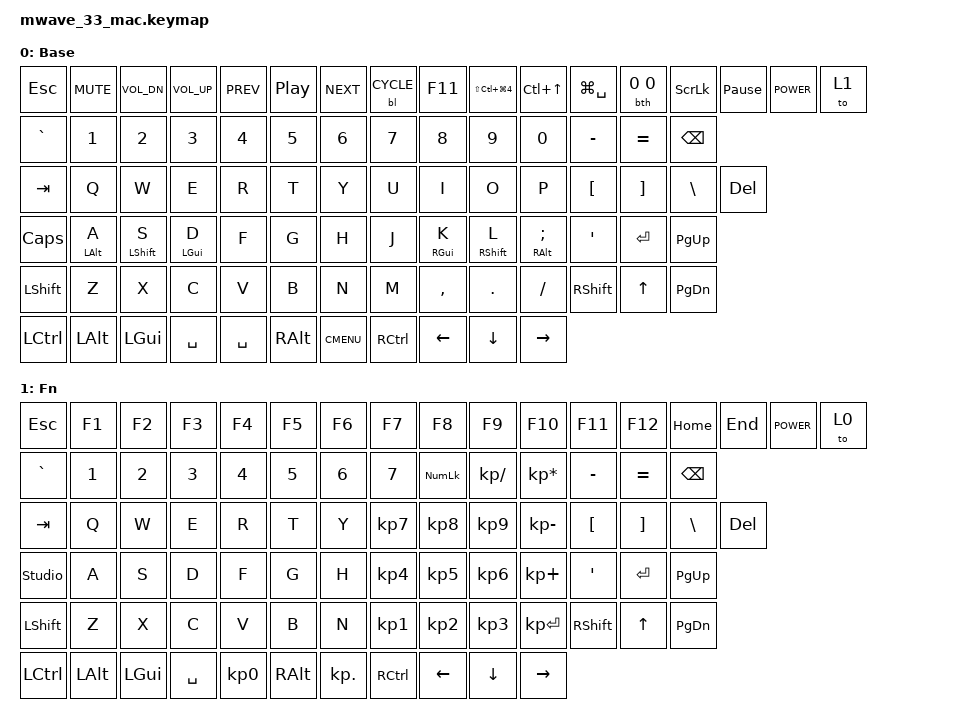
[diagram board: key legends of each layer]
#include <behaviors.dtsi>
#include <dt-bindings/zmk/backlight.h>
#include <dt-bindings/zmk/bt.h>
#include <dt-bindings/zmk/keys.h>
#include <dt-bindings/zmk/pointing.h>
#include <dt-bindings/zmk/outputs.h>
#include <dt-bindings/advertising_mode.h>
#include <behaviors/advertising_mode.dtsi>
#include <behaviors/stp_indicators.dtsi>
#include "studio-macros.dtsi"

&mt {
    flavor = "balanced";
    quick-tap-ms = <150>;
    hold-while-undecided;
};

&lt { flavor = "balanced"; };

/ {
    #include "mwave_prim.dtsi"

    behaviors {
        // Timeless homerow mods (https://github.com/urob/zmk-config#timeless-homerow-mods)
        // Key positions for mwave_33_mac 87-key layout: left 0-6,18-24,33-38,48-53,62-67,76-80 | right 7-17,25-32,39-47,54-61,68-75,81-86
        hml: hml {
            compatible = "zmk,behavior-hold-tap";
            #binding-cells = <2>;
            tapping-term-ms = <280>;
            bindings = <&kp>, <&kp>;
            flavor = "balanced";
            quick-tap-ms = <175>;
            require-prior-idle-ms = <400>;
            hold-trigger-key-positions = <7 8 9 10 11 12 13 14 15 16 17 25 26 27 28 29 30 31 32 39 40 41 42 43 44 45 46 47 54 55 56 57 58 59 60 61 68 69 70 71 72 73 74 75 81 82 83 84 85 86>;
            hold-trigger-on-release;
            hold-while-undecided;
        };
        hmr: hmr {
            compatible = "zmk,behavior-hold-tap";
            #binding-cells = <2>;
            tapping-term-ms = <280>;
            bindings = <&kp>, <&kp>;
            flavor = "balanced";
            quick-tap-ms = <175>;
            require-prior-idle-ms = <400>;
            hold-trigger-key-positions = <0 1 2 3 4 5 6 18 19 20 21 22 23 24 33 34 35 36 37 38 48 49 50 51 52 53 62 63 64 65 66 67 76 77 78 79 80>;
            hold-trigger-on-release;
            hold-while-undecided;
        };
    };

    combos {
        compatible = "zmk,combos";
        combo_caps_word {
            key-positions = <77 78>;
            bindings = <&caps_word>;
        };
    };

    keymap {
        compatible = "zmk,keymap";

        default_layer {
            display-name = "Base";

            // -------------------------------------------------------------------------------------------------------
            // | ESC | F1  | F2  | F3  | F4  | F5  | F6  | | F7  | F8  | F9  | F10 | F11 | F12 |HOME| END |PSCN|  1  |
            // |GRAVE|  1  |  2  |  3  |  4  |  5  |  6  | |   7   |  8  |  9  |  0  |  -  |  =  |    BKSP     | DEL |
            // | TAB    |  Q  |  W  |  E  |  R  |   T    | |   Y  |  U  |  I  |  O  |  P  |  [  |  ]  |   \    |     |
            // | CAPS     |  A  |  S  |  D  |  F  |  G   | |  H    |  J  |  K  |  L  |  ;  |  '  |    ENTER    | PGUP|
            // |   SHIFT   |  Z  |  X  |  C  |  V  |  B  | |    N    |  M  |  ,  |  .  |  /  |   SHIFT   | UP  | PGDN|
            // |  CTL  |  WIN  |  ALT  |      SPACE      | |      SPACE        | ALT | MENU |RCTRL| LEFT| DOWN |RIGHT|
            // -------------------------------------------------------------------------------------------------------

            bindings = <
&kp ESC    &kp C_MUTE    &kp C_VOL_DN  &kp C_VOL_UP  &kp C_PREV  &kp C_PP       &kp C_NEXT     &bl BL_CYCLE  &kp F11    &kp LS(LC(LG(NUMBER_4)))  &kp LC(UP_ARROW)  &kp LG(SPACE)  &bth 0 0    &kp SCROLLLOCK  &kp PAUSE_BREAK  &kp K_POWER  &to 1
&kp GRAVE  &kp N1        &kp N2        &kp N3        &kp N4      &kp N5         &kp N6         &kp N7        &kp N8     &kp N9                    &kp N0            &kp MINUS      &kp EQUAL   &kp BSPC
&kp TAB    &kp Q         &kp W         &kp E         &kp R       &kp T          &kp Y          &kp U         &kp I      &kp O                     &kp P             &kp LBKT       &kp RBKT    &kp BSLH        &kp DEL
&kp CLCK   &hml LALT A   &hml LSHFT S  &hml LGUI D   &kp F       &kp G        &kp H         &kp J        &hmr RGUI K  &hmr RSHFT L &hmr RALT SEMI &kp SQT      &kp RET      &kp PG_UP
&kp LSHFT  &kp Z         &kp X         &kp C         &kp V       &kp B          &kp N          &kp M         &kp COMMA  &kp DOT                   &kp FSLH          &kp RSHFT      &kp UP      &kp PG_DN
&kp LCTRL  &kp LEFT_ALT  &kp LGUI     &kp SPACE    &kp SPACE   &kp RALT  &kp K_CMENU    &kp RCTRL     &kp LEFT   &kp DOWN                  &kp RIGHT
            >;
        };

        raise {
            display-name = "Fn";
            bindings = <
&kp ESCAPE      &kp F1       &kp F2         &kp F3     &kp F4      &kp F5          &kp F6      &kp F7     &kp F8       &kp F9         &kp F10          &kp F11          &kp F12    &kp HOME       &kp END     &kp K_POWER  &to 0
&kp GRAVE       &kp N1       &kp N2         &kp N3     &kp N4      &kp N5          &kp N6      &kp N7     &kp KP_NLCK  &kp KP_DIVIDE  &kp KP_MULTIPLY  &kp MINUS        &kp EQUAL  &kp BACKSPACE
&kp TAB         &kp Q        &kp W          &kp E      &kp R       &kp T           &kp Y       &kp KP_N7  &kp KP_N8    &kp KP_N9      &kp KP_MINUS     &kp LBKT       &kp RBKT    &kp BSLH    &kp DELETE
&studio_unlock  &kp A        &kp S         &kp D       &kp F    &kp G           &kp H       &kp KP_N4  &kp KP_N5    &kp KP_N6  &kp KP_PLUS      &kp SQT          &kp ENTER  &kp PAGE_UP
&kp LEFT_SHIFT  &kp Z        &kp X          &kp C      &kp V       &kp B           &kp N       &kp KP_N1  &kp KP_N2    &kp KP_N3      &kp KP_ENTER     &kp RIGHT_SHIFT  &kp UP     &kp PAGE_DOWN
&kp LCTRL       &kp LEFT_ALT &kp LGUI   &kp SPACE  &kp KP_N0   &kp RALT   &kp KP_DOT  &kp RCTRL  &kp LEFT     &kp DOWN       &kp RIGHT
            >;
        };

        extra1 {
            display-name = "Blue";
            status = "reserved";
        };

        extra2 {
            display-name = "Green";
            status = "reserved";
        };

        extra3 {
            display-name = "Red";
            status = "reserved";
        };

        extra4 {
            display-name = "Purple";
            status = "reserved";
        };

        extra5 {
            display-name = "Cyan";
            status = "reserved";
        };

        extra6 {
            display-name = "Yellow";
            status = "reserved";
        };
    };
};
